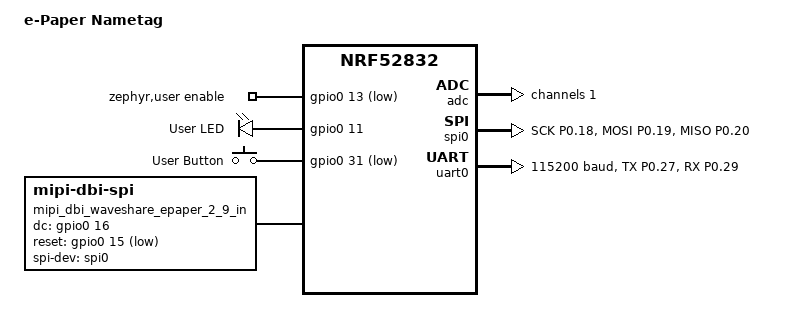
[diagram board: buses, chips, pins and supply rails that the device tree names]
/*
 * Copyright (c) 2024 Fabian Pflug
 *
 * SPDX-License-Identifier: Apache-2.0
 */

/dts-v1/;
#include <nordic/nrf52832_qfaa.dtsi>
#include <zephyr/dt-bindings/input/input-event-codes.h>
#include <zephyr/dt-bindings/mipi_dbi/mipi_dbi.h>

/ {
	model = "e-Paper Nametag";

	chosen {
		zephyr,console = &uart0;
		zephyr,shell-uart = &uart0;
		zephyr,uart-mcumgr = &uart0;
		zephyr,bt-mon-uart = &uart0;
		zephyr,bt-c2h-uart = &uart0;
		zephyr,sram = &sram0;
		zephyr,flash = &flash0;
		zephyr,code-partition = &slot0_partition;
		zephyr,display = &ssd16xx_waveshare_epaper_2_9_in;
	};

	aliases {
		led0 = &led0;
		sw0 = &button;
		watchdog0 = &wdt0;
	};

	zephyr,user {
		enable-gpios = <&gpio0 13 (GPIO_ACTIVE_LOW | GPIO_OPEN_DRAIN)>;
	};

	leds {
		compatible = "gpio-leds";
		led0: led_0 {
			gpios = <&gpio0 11 GPIO_ACTIVE_HIGH>;
			label = "User LED";
		};
	};

	buttons {
		compatible = "gpio-keys";
		button: button0 {
			gpios = <&gpio0 31 GPIO_ACTIVE_LOW>;
			label = "User Button";
			zephyr,code = <INPUT_KEY_1>;
		};
	};

	mipi_dbi_waveshare_epaper_2_9_in {
		compatible = "zephyr,mipi-dbi-spi";
		spi-dev = <&spi0>;
		dc-gpios = <&gpio0 16 GPIO_ACTIVE_HIGH>;
		reset-gpios = <&gpio0 15 GPIO_ACTIVE_LOW>;
		#address-cells = <1>;
		#size-cells = <0>;

		ssd16xx_waveshare_epaper_2_9_in: ssd1680@0 {
			compatible = "waveshare,2_9_in", "solomon,ssd1680";
			mipi-max-frequency = <2000000>;
			reg = <0>;
			width = <296>;
			// even though it is only a 128 display, we need to have an additional 8 lines here
			// because the driver does not have support for the Source Output Mode (CMD 0x21)
			height = <136>;
			busy-gpios = <&gpio0 14 GPIO_ACTIVE_HIGH>;
			mipi-mode = <MIPI_DBI_MODE_SPI_4WIRE>;

			full {
				gdv = [17];
				sdv = [41 00 32];
				vcom = <0x36>;
				lut = [
					/* Copied from https://github.com/waveshareteam/e-Paper/blob/aabe2c1fcafee01b01d9a06ed589ca5d67e52424/Arduino/epd2in9_V2/epd2in9_V2.cpp#L55 */
					80	66	00	00	00	00	00	00	40	00	00	00
					10	66	00	00	00	00	00	00	20	00	00	00
					80	66	00	00	00	00	00	00	40	00	00	00
					10	66	00	00	00	00	00	00	20	00	00	00
					00	00	00	00	00	00	00	00	00	00	00	00
					14	08	00	00	00	00	01
					0A	0A	00	0A	0A	00	01
					00	00	00	00	00	00	00
					00	00	00	00	00	00	00
					00	00	00	00	00	00	00
					00	00	00	00	00	00	00
					00	00	00	00	00	00	00
					00	00	00	00	00	00	00
					14	08	00	01	00	00	01
					00	00	00	00	00	00	01
					00	00	00	00	00	00	00
					00	00	00	00	00	00	00
					44	44	44	44	44	44	00	00	00
				];
			};

			partial {
				border-waveform = <0x80>;
				gdv = [17];
				sdv = [41 B0 32];
				vcom = <0x36>;
				lut = [
					/* Copied from https://github.com/waveshareteam/e-Paper/blob/aabe2c1fcafee01b01d9a06ed589ca5d67e52424/Arduino/epd2in9_V2/epd2in9_V2.cpp#L32 */
					00 40 00 00 00 00 00 00 00 00 00 00
					80 80 00 00 00 00 00 00 00 00 00 00
					40 40 00 00 00 00 00 00 00 00 00 00
					00 80 00 00 00 00 00 00 00 00 00 00
					00 00 00 00 00 00 00 00 00 00 00 00
					0A 00 00 00 00 00 02
					01 00 00 00 00 00 00
					01 00 00 00 00 00 00
					00 00 00 00 00 00 00
					00 00 00 00 00 00 00
					00 00 00 00 00 00 00
					00 00 00 00 00 00 00
					00 00 00 00 00 00 00
					00 00 00 00 00 00 00
					00 00 00 00 00 00 00
					00 00 00 00 00 00 00
					00 00 00 00 00 00 00
					22 22 22 22 22 22 00 00 00
				];
			};
		};
	};
};


&adc {
	#address-cells = <1>;
	#size-cells = <0>;
	status = "okay";

	channel@1 {
		reg = <1>;
		zephyr,gain = "ADC_GAIN_1_6";
		zephyr,reference = "ADC_REF_INTERNAL";
		zephyr,acquisition-time = <ADC_ACQ_TIME_DEFAULT>;
		zephyr,input-positive = <NRF_SAADC_VDD>;
		zephyr,resolution = <12>;
	};
};

&uicr {
	gpio-as-nreset;
};

&gpiote {
	status = "okay";
};

&gpio0 {
	status = "okay";
};

&spi0 {
	cs-gpios = <&gpio0 17 GPIO_ACTIVE_LOW>;
	compatible = "nordic,nrf-spi";
	pinctrl-0 = <&spi0_default>;
	pinctrl-1 = <&spi0_sleep>;
	pinctrl-names = "default", "sleep";
	status = "okay";
};

&uart0 {
	compatible = "nordic,nrf-uarte";
	current-speed = <115200>;
	status = "okay";
	pinctrl-0 = <&uart0_default>;
	pinctrl-1 = <&uart0_sleep>;
	pinctrl-names = "default", "sleep";
};

&flash0 {

	partitions {
		compatible = "fixed-partitions";
		#address-cells = <1>;
		#size-cells = <1>;

		boot_partition: partition@0 {
			label = "mcuboot";
			// 24kByte
			reg = <0x00000000 0x06000>;
		};
		slot0_partition: partition@6000 {
			label = "image-0";
			// 232kByte
			reg = <0x00006000 0x3A000>;
		};
		slot1_partition: partition@40000 {
			label = "image-1";
			// 232kByte
			reg = <0x00040000 0x3A000>;
		};
		scratch_partition: partition@7a000 {
			label = "image-scratch";
			// 20kByte
			reg = <0x0007A000 0x05000>;
		};
		storage_partition: partition@7f000 {
			label = "storage";
			// 4kByte
			reg = <0x0007F000 0x00001000>;
		};
	};
};


&pinctrl {
	spi0_default: spi0_default {
		group1 {
			psels = <NRF_PSEL(SPIM_SCK, 0, 18)>,
				<NRF_PSEL(SPIM_MOSI, 0, 19)>,
				<NRF_PSEL(SPIM_MISO, 0, 20)>;
		};
	};

	spi0_sleep: spi0_sleep {
		group1 {
			psels = <NRF_PSEL(SPIM_SCK, 0, 18)>,
				<NRF_PSEL(SPIM_MOSI, 0, 19)>,
				<NRF_PSEL(SPIM_MISO, 0, 20)>;
			low-power-enable;
		};
	};

	uart0_default: uart0_default {
		group1 {
			psels = <NRF_PSEL(UART_TX, 0, 27)>, // Pin 39
				<NRF_PSEL(UART_RX, 0, 29)>; // Pin 41
		};
	};

	uart0_sleep: uart0_sleep {
		group1 {
			psels = <NRF_PSEL(UART_TX, 0, 27)>,
				<NRF_PSEL(UART_RX, 0, 29)>;
			low-power-enable;
		};
	};
};
